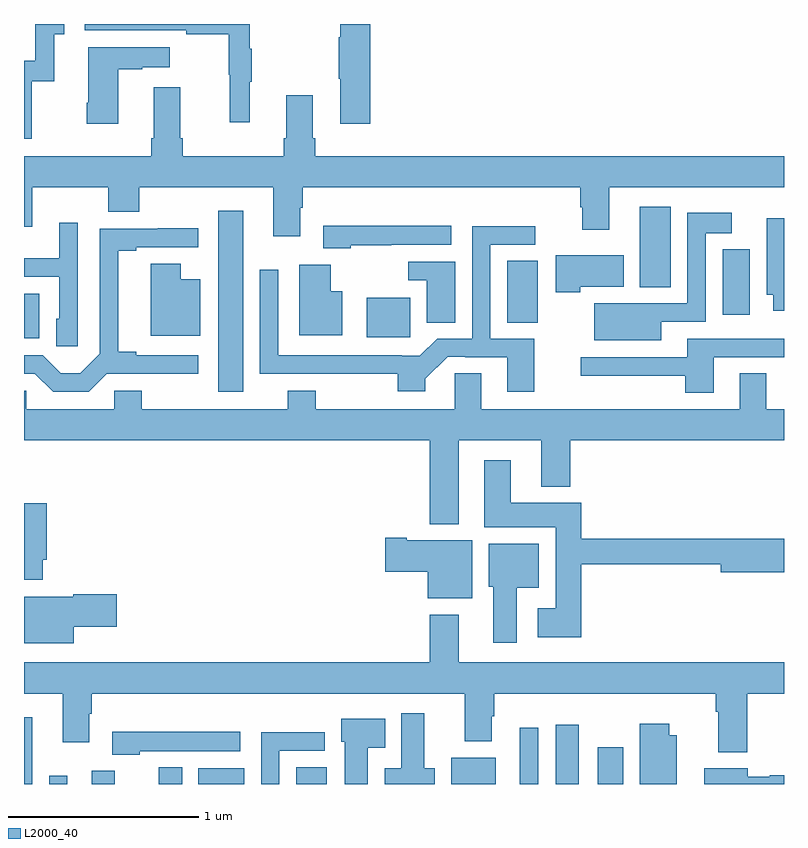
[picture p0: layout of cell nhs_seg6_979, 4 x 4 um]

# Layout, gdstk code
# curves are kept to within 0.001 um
import gdstk
lib = gdstk.Library(unit=1e-6, precision=1e-09)
def R(c, l, rs):  # rectangles x0, y0, x1, y1
    for r in rs: c.add(gdstk.rectangle(r[:2], r[2:], *l))
def P(c, l, *ps):  # polygons
    for p in ps: c.add(gdstk.Polygon(p, *l))
L2000_40 = (2000, 40)

nhs_seg6_979 = lib.new_cell('nhs_seg6_979')
R(nhs_seg6_979, L2000_40, [(171,973.5,171.043,973.852), (171.132,973.5,171.228,973.543), (171.356,973.5,171.478,973.57), (171.71,973.5,171.832,973.588), (171.917,973.5,172.159,973.584), (172.433,973.5,172.594,973.589), (173.249,973.5,173.482,973.639), (173.61,973.5,173.706,973.795), (173.798,973.5,173.92,973.813), (174.02,973.5,174.154,973.693), (172.022,975.564,172.153,976.516), (171,975.845,171.079,976.081), (172.805,975.851,173.032,976.06), (173.543,975.928,173.704,976.253), (174.677,975.969,174.82,976.315), (174.242,976.115,174.403,976.537)])
P(nhs_seg6_979, L2000_40, [(171.04,977.199),(171.158,977.199),(171.158,977.445),(171.211,977.445),(171.211,977.5),(171.06,977.5),(171.06,977.307),(171,977.307),(171,976.896),(171.04,976.896)],
  [(172.823,977.5),(172.664,977.5),(172.664,977.429),(172.657,977.429),(172.657,977.212),(172.664,977.212),(172.664,976.974),(172.823,976.974)],
  [(172.187,977.195),(172.198,977.195),(172.198,977.369),(172.187,977.369),(172.187,977.5),(171.321,977.5),(171.321,977.466),(171.853,977.466),(171.853,977.446),(172.077,977.446),(172.077,977.232),(172.084,977.232),(172.084,976.983),(172.187,976.983)],
  [(171.496,977.263),(171.623,977.263),(171.623,977.273),(171.766,977.273),(171.766,977.377),(171.338,977.377),(171.338,977.086),(171.331,977.086),(171.331,976.974),(171.496,976.974)],
  [(172.453,976.534),(172.466,976.534),(172.466,976.64),(173.927,976.64),(173.927,976.536),(173.939,976.536),(173.939,976.416),(174.079,976.416),(174.079,976.64),(175,976.64),(175,976.804),(172.532,976.804),(172.532,976.9),(172.519,976.9),(172.519,977.125),(172.379,977.125),(172.379,976.9),(172.367,976.9),(172.367,976.804),(171.836,976.804),(171.836,976.9),(171.823,976.9),(171.823,977.167),(171.683,977.167),(171.683,976.9),(171.671,976.9),(171.671,976.804),(171,976.804),(171,976.434),(171.043,976.434),(171.043,976.64),(171.443,976.64),(171.443,976.512),(171.607,976.512),(171.607,976.64),(172.313,976.64),(172.313,976.383),(172.453,976.383)],
  [(174.355,975.933),(174.588,975.933),(174.588,976.4),(174.724,976.4),(174.724,976.507),(174.492,976.507),(174.492,976.029),(174.246,976.029),(174.246,976.03),(174.002,976.03),(174.002,975.836),(174.355,975.836)],
  [(175,976.477),(174.908,976.477),(174.908,976.076),(174.944,976.076),(174.944,975.99),(175,975.99)],
  [(171.282,976.453),(171.185,976.453),(171.185,976.267),(171,976.267),(171,976.17),(171.186,976.17),(171.186,975.948),(171.17,975.948),(171.17,975.805),(171.282,975.805)],
  [(172.719,976.335),(172.934,976.335),(172.934,976.337),(173.248,976.337),(173.248,976.438),(172.575,976.438),(172.575,976.319),(172.719,976.319)],
  [(173.686,975.843),(173.454,975.843),(173.454,976.338),(173.692,976.338),(173.692,976.436),(173.358,976.436),(173.358,975.843),(173.174,975.843),(173.084,975.753),(172.988,975.753),(172.988,975.756),(172.338,975.756),(172.338,976.207),(172.242,976.207),(172.242,975.66),(172.966,975.659),(172.966,975.566),(173.113,975.566),(173.113,975.634),(173.229,975.75),(173.323,975.75),(173.323,975.747),(173.543,975.747),(173.543,975.564),(173.686,975.564)],
  [(171.436,975.66),(171.916,975.659),(171.916,975.756),(171.592,975.756),(171.592,975.776),(171.496,975.776),(171.496,976.306),(171.592,976.306),(171.592,976.326),(171.916,976.326),(171.916,976.424),(171.703,976.424),(171.703,976.422),(171.399,976.422),(171.399,975.765),(171.295,975.661),(171.194,975.661),(171.099,975.756),(171,975.756),(171,975.66),(171.057,975.66),(171.153,975.564),(171.34,975.564)],
  [(173.928,976.118),(174.157,976.118),(174.157,976.282),(173.798,976.282),(173.798,976.088),(173.928,976.088)],
  [(173.269,976.248),(173.022,976.248),(173.022,976.152),(173.12,976.152),(173.12,975.928),(173.269,975.928)],
  [(171.928,976.156),(171.826,976.156),(171.826,976.237),(171.668,976.237),(171.668,975.86),(171.928,975.86)],
  [(172.675,976.093),(172.614,976.093),(172.614,976.234),(172.448,976.234),(172.448,975.863),(172.675,975.863)],
  [(174.631,975.747),(175,975.747),(175,975.843),(174.491,975.843),(174.491,975.747),(173.931,975.747),(173.931,975.65),(174.479,975.65),(174.479,975.558),(174.631,975.558)],
  [(173.287,975.308),(173.723,975.308),(173.723,975.065),(173.876,975.065),(173.876,975.308),(175,975.308),(175,975.472),(174.907,975.472),(174.907,975.662),(174.767,975.662),(174.767,975.472),(173.407,975.472),(173.407,975.662),(173.268,975.662),(173.268,975.472),(172.536,975.472),(172.536,975.571),(172.388,975.571),(172.388,975.472),(171.621,975.472),(171.621,975.57),(171.474,975.57),(171.474,975.472),(171.012,975.472),(171.012,975.57),(171,975.57),(171,975.308),(173.135,975.308),(173.135,974.867),(173.287,974.867)],
  [(173.933,974.656),(174.668,974.656),(174.668,974.614),(175,974.614),(175,974.792),(173.933,974.792),(173.933,974.98),(173.563,974.98),(173.563,975.205),(173.423,975.205),(173.423,974.852),(173.798,974.852),(173.798,974.425),(173.703,974.425),(173.703,974.273),(173.933,974.273)],
  [(171.099,974.68),(171.119,974.68),(171.119,974.977),(171.002,974.977),(171.002,974.729),(171,974.729),(171,974.576),(171.099,974.576)],
  [(173.359,974.782),(173.014,974.782),(173.014,974.795),(172.902,974.795),(172.902,974.617),(173.126,974.617),(173.126,974.477),(173.359,974.477)],
  [(173.593,974.534),(173.71,974.534),(173.71,974.764),(173.447,974.764),(173.447,974.538),(173.471,974.538),(173.471,974.244),(173.593,974.244)],
  [(171.262,974.327),(171.487,974.327),(171.487,974.498),(171.258,974.498),(171.258,974.485),(171,974.485),(171,974.24),(171.262,974.24)],
  [(174.806,973.976),(175,973.976),(175,974.14),(173.287,974.14),(173.287,974.392),(173.135,974.392),(173.135,974.14),(171,974.14),(171,973.976),(171.203,973.976),(171.203,973.719),(171.343,973.719),(171.343,973.87),(171.356,973.87),(171.356,973.976),(173.321,973.976),(173.321,973.724),(173.461,973.724),(173.461,973.856),(173.474,973.856),(173.474,973.976),(174.641,973.976),(174.641,973.88),(174.653,973.88),(174.653,973.667),(174.806,973.667)],
  [(173.161,973.582),(173.107,973.582),(173.107,973.873),(172.985,973.873),(172.985,973.582),(172.898,973.582),(172.898,973.5),(173.161,973.5)],
  [(172.81,973.691),(172.9,973.691),(172.9,973.843),(172.67,973.843),(172.67,973.722),(172.688,973.722),(172.688,973.5),(172.81,973.5)],
  [(174.436,973.756),(174.397,973.756),(174.397,973.816),(174.242,973.816),(174.242,973.5),(174.436,973.5)],
  [(171.609,973.673),(172.138,973.673),(172.138,973.774),(171.465,973.774),(171.465,973.655),(171.609,973.655)],
  [(172.344,973.674),(172.582,973.674),(172.582,973.772),(172.248,973.772),(172.248,973.5),(172.344,973.5)],
  [(175,973.545),(174.924,973.545),(174.924,973.537),(174.808,973.537),(174.808,973.582),(174.581,973.582),(174.581,973.5),(175,973.5)])

lib.write_gds('nhs_seg6_979.gds')
